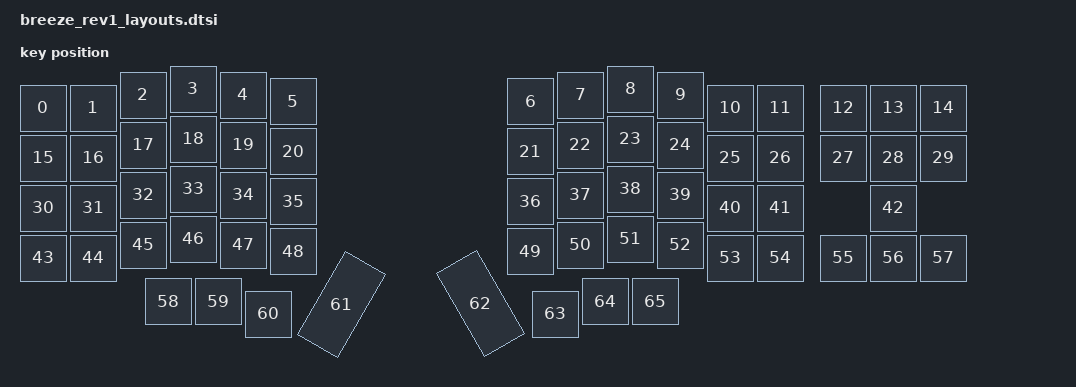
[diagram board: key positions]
/*
 * Copyright (c) 2024 The ZMK Contributors
 *
 * SPDX-License-Identifier: MIT
 */

#include <physical_layouts.dtsi>

/ {
	chosen {
		zmk,physical-layout = &breeze_physical_layout;
	};

	breeze_physical_layout: breeze_physical_layout {
		compatible = "zmk,physical-layout";
		display-name = "Default";
		transform = <&default_transform>;
		kscan = <&kscan0>;

		keys  //                     w   h     x     y      rot    rx    ry
			= <&key_physical_attrs 100 100     0    38        0     0     0>
			, <&key_physical_attrs 100 100   100    38        0     0     0>
			, <&key_physical_attrs 100 100   200    12        0     0     0>
			, <&key_physical_attrs 100 100   300     0        0     0     0>
			, <&key_physical_attrs 100 100   400    12        0     0     0>
			, <&key_physical_attrs 100 100   500    25        0     0     0>
			, <&key_physical_attrs 100 100   975    25        0     0     0>
			, <&key_physical_attrs 100 100  1075    12        0     0     0>
			, <&key_physical_attrs 100 100  1175     0        0     0     0>
			, <&key_physical_attrs 100 100  1275    12        0     0     0>
			, <&key_physical_attrs 100 100  1375    38        0     0     0>
			, <&key_physical_attrs 100 100  1475    38        0     0     0>
			, <&key_physical_attrs 100 100  1600    38        0     0     0>
			, <&key_physical_attrs 100 100  1700    38        0     0     0>
			, <&key_physical_attrs 100 100  1800    38        0     0     0>
			, <&key_physical_attrs 100 100     0   138        0     0     0>
			, <&key_physical_attrs 100 100   100   138        0     0     0>
			, <&key_physical_attrs 100 100   200   112        0     0     0>
			, <&key_physical_attrs 100 100   300   100        0     0     0>
			, <&key_physical_attrs 100 100   400   112        0     0     0>
			, <&key_physical_attrs 100 100   500   125        0     0     0>
			, <&key_physical_attrs 100 100   975   125        0     0     0>
			, <&key_physical_attrs 100 100  1075   112        0     0     0>
			, <&key_physical_attrs 100 100  1175   100        0     0     0>
			, <&key_physical_attrs 100 100  1275   112        0     0     0>
			, <&key_physical_attrs 100 100  1375   138        0     0     0>
			, <&key_physical_attrs 100 100  1475   138        0     0     0>
			, <&key_physical_attrs 100 100  1600   138        0     0     0>
			, <&key_physical_attrs 100 100  1700   138        0     0     0>
			, <&key_physical_attrs 100 100  1800   138        0     0     0>
			, <&key_physical_attrs 100 100     0   238        0     0     0>
			, <&key_physical_attrs 100 100   100   238        0     0     0>
			, <&key_physical_attrs 100 100   200   212        0     0     0>
			, <&key_physical_attrs 100 100   300   200        0     0     0>
			, <&key_physical_attrs 100 100   400   212        0     0     0>
			, <&key_physical_attrs 100 100   500   225        0     0     0>
			, <&key_physical_attrs 100 100   975   225        0     0     0>
			, <&key_physical_attrs 100 100  1075   212        0     0     0>
			, <&key_physical_attrs 100 100  1175   200        0     0     0>
			, <&key_physical_attrs 100 100  1275   212        0     0     0>
			, <&key_physical_attrs 100 100  1375   238        0     0     0>
			, <&key_physical_attrs 100 100  1475   238        0     0     0>
			, <&key_physical_attrs 100 100  1700   238        0     0     0>
			, <&key_physical_attrs 100 100     0   338        0     0     0>
			, <&key_physical_attrs 100 100   100   338        0     0     0>
			, <&key_physical_attrs 100 100   200   312        0     0     0>
			, <&key_physical_attrs 100 100   300   300        0     0     0>
			, <&key_physical_attrs 100 100   400   312        0     0     0>
			, <&key_physical_attrs 100 100   500   325        0     0     0>
			, <&key_physical_attrs 100 100   975   325        0     0     0>
			, <&key_physical_attrs 100 100  1075   312        0     0     0>
			, <&key_physical_attrs 100 100  1175   300        0     0     0>
			, <&key_physical_attrs 100 100  1275   312        0     0     0>
			, <&key_physical_attrs 100 100  1375   338        0     0     0>
			, <&key_physical_attrs 100 100  1475   338        0     0     0>
			, <&key_physical_attrs 100 100  1600   338        0     0     0>
			, <&key_physical_attrs 100 100  1700   338        0     0     0>
			, <&key_physical_attrs 100 100  1800   338        0     0     0>
			, <&key_physical_attrs 100 100   250   425        0     0     0>
			, <&key_physical_attrs 100 100   350   425        0     0     0>
			, <&key_physical_attrs 100 100   450   450        0     0     0>
			, <&key_physical_attrs 100 200   625   375     3000   650   425>
			, <&key_physical_attrs 100 200   900   225  (-3000)  1225   450>
			, <&key_physical_attrs 100 100  1025   450        0     0     0>
			, <&key_physical_attrs 100 100  1125   425        0     0     0>
			, <&key_physical_attrs 100 100  1225   425        0     0     0>
			;
	};
};
